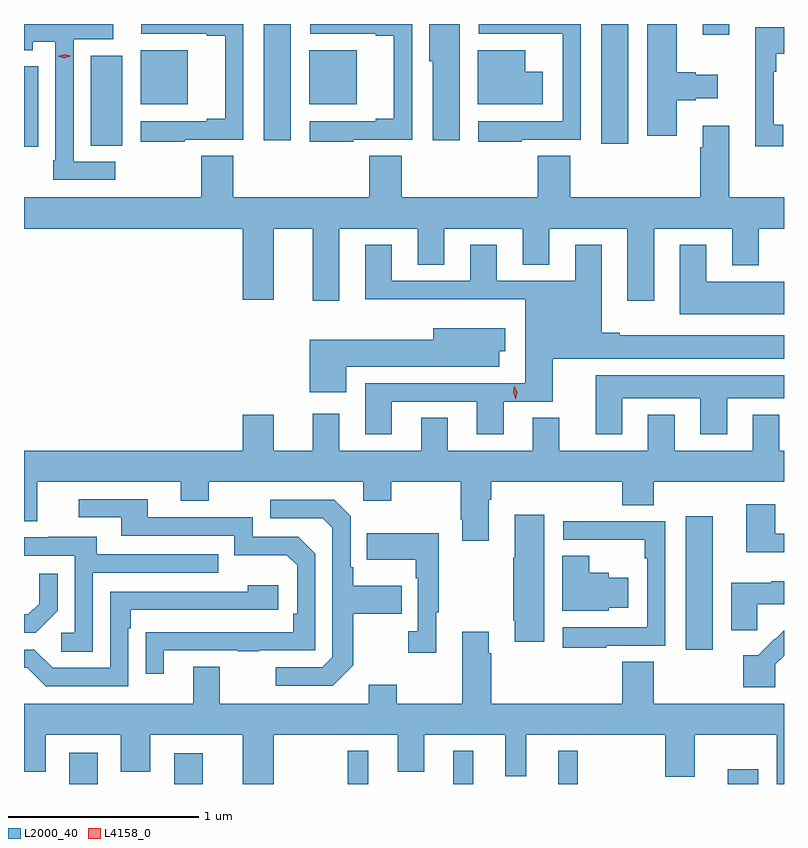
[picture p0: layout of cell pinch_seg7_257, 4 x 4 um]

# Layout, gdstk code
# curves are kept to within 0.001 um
import gdstk
lib = gdstk.Library(unit=1e-6, precision=1e-09)
def R(c, l, rs):  # rectangles x0, y0, x1, y1
    for r in rs: c.add(gdstk.rectangle(r[:2], r[2:], *l))
def P(c, l, *ps):  # polygons
    for p in ps: c.add(gdstk.Polygon(p, *l))
L2000_40 = (2000, 40)
L4158_0 = (4158, 0)

pinch_seg7_257 = lib.new_cell('pinch_seg7_257')
R(pinch_seg7_257, L2000_40, [(799.46,1009.681,799.609,1009.846), (800.012,1009.681,800.161,1009.843), (800.925,1009.681,801.034,1009.855), (801.479,1009.681,801.586,1009.855), (802.034,1009.681,802.135,1009.855), (802.925,1009.681,803.086,1009.759), (802.703,1010.387,802.846,1011.091), (799.221,1013.034,799.297,1013.459), (799.571,1013.041,799.738,1013.515), (802.259,1013.051,802.402,1013.681), (800.483,1013.07,800.626,1013.681), (799.835,1013.258,800.083,1013.542), (800.723,1013.258,800.971,1013.542), (802.793,1013.625,802.933,1013.681)])
P(pinch_seg7_257, L2000_40, [(800.954,1013.073),(801.264,1013.073),(801.264,1013.681),(800.727,1013.681),(800.727,1013.631),(801.071,1013.631),(801.071,1013.619),(801.167,1013.619),(801.167,1013.182),(801.071,1013.182),(801.071,1013.169),(800.724,1013.169),(800.724,1013.061),(800.954,1013.061)],
  [(801.842,1013.073),(802.152,1013.073),(802.152,1013.681),(801.615,1013.681),(801.615,1013.631),(802.055,1013.631),(802.055,1013.63),(802.056,1013.63),(802.056,1013.169),(801.612,1013.169),(801.612,1013.061),(801.842,1013.061)],
  [(800.066,1013.073),(800.376,1013.073),(800.376,1013.681),(799.839,1013.681),(799.839,1013.631),(800.183,1013.631),(800.183,1013.619),(800.279,1013.619),(800.279,1013.182),(800.183,1013.182),(800.183,1013.169),(799.836,1013.169),(799.836,1013.061),(800.066,1013.061)],
  [(801.514,1013.681),(801.353,1013.681),(801.353,1013.484),(801.371,1013.484),(801.371,1013.07),(801.514,1013.07)],
  [(799.702,1012.956),(799.482,1012.956),(799.482,1013.6),(799.69,1013.6),(799.69,1013.681),(799.221,1013.681),(799.221,1013.544),(799.266,1013.544),(799.266,1013.588),(799.386,1013.588),(799.386,1012.963),(799.374,1012.963),(799.374,1012.86),(799.702,1012.86)],
  [(802.657,1013.279),(802.757,1013.279),(802.757,1013.291),(802.873,1013.291),(802.873,1013.413),(802.757,1013.413),(802.757,1013.426),(802.657,1013.426),(802.657,1013.681),(802.502,1013.681),(802.502,1013.094),(802.657,1013.094)],
  [(803.218,1013.15),(803.166,1013.15),(803.166,1013.429),(803.179,1013.429),(803.179,1013.525),(803.221,1013.525),(803.221,1013.665),(803.069,1013.665),(803.069,1013.037),(803.218,1013.037)],
  [(801.952,1013.431),(801.859,1013.431),(801.859,1013.542),(801.608,1013.542),(801.608,1013.258),(801.952,1013.258)],
  [(800.881,1012.604),(801.293,1012.604),(801.293,1012.414),(801.433,1012.414),(801.433,1012.604),(801.845,1012.604),(801.845,1012.414),(801.985,1012.414),(801.985,1012.604),(802.397,1012.604),(802.397,1012.224),(802.537,1012.224),(802.537,1012.604),(802.949,1012.604),(802.949,1012.41),(803.089,1012.41),(803.089,1012.604),(803.221,1012.604),(803.221,1012.768),(802.933,1012.768),(802.933,1013.146),(802.793,1013.146),(802.793,1013.033),(802.781,1013.033),(802.781,1012.768),(802.097,1012.768),(802.097,1012.988),(801.926,1012.988),(801.926,1012.768),(801.209,1012.768),(801.209,1012.988),(801.038,1012.988),(801.038,1012.768),(800.321,1012.768),(800.321,1012.988),(800.155,1012.988),(800.155,1012.768),(799.221,1012.768),(799.221,1012.604),(800.372,1012.604),(800.372,1012.23),(800.536,1012.23),(800.536,1012.604),(800.741,1012.604),(800.741,1012.224),(800.881,1012.224)],
  [(801.157,1011.693),(801.605,1011.693),(801.605,1011.522),(801.745,1011.522),(801.745,1011.693),(802.003,1011.693),(802.003,1011.92),(803.221,1011.92),(803.221,1012.042),(802.357,1012.042),(802.357,1012.055),(802.261,1012.055),(802.261,1012.519),(802.121,1012.519),(802.121,1012.329),(801.709,1012.329),(801.709,1012.519),(801.569,1012.519),(801.569,1012.329),(801.157,1012.329),(801.157,1012.519),(801.017,1012.519),(801.017,1012.232),(801.86,1012.232),(801.86,1011.789),(801.017,1011.789),(801.017,1011.522),(801.157,1011.522)],
  [(803.221,1012.324),(802.813,1012.324),(802.813,1012.519),(802.673,1012.519),(802.673,1012.154),(803.221,1012.154)],
  [(800.917,1011.878),(801.721,1011.878),(801.721,1011.959),(801.754,1011.959),(801.754,1012.081),(801.374,1012.081),(801.374,1012.018),(800.726,1012.018),(800.726,1011.743),(800.917,1011.743)],
  [(802.369,1011.71),(802.781,1011.71),(802.781,1011.522),(802.921,1011.522),(802.921,1011.71),(803.221,1011.71),(803.221,1011.832),(802.229,1011.832),(802.229,1011.522),(802.369,1011.522)],
  [(801.667,1011.176),(801.68,1011.176),(801.68,1011.272),(802.37,1011.272),(802.37,1011.148),(802.536,1011.148),(802.536,1011.272),(803.221,1011.272),(803.221,1011.436),(803.197,1011.436),(803.197,1011.625),(803.057,1011.625),(803.057,1011.436),(802.645,1011.436),(802.645,1011.625),(802.505,1011.625),(802.505,1011.436),(802.039,1011.436),(802.039,1011.608),(801.899,1011.608),(801.899,1011.436),(801.451,1011.436),(801.451,1011.608),(801.311,1011.608),(801.311,1011.436),(800.881,1011.436),(800.881,1011.631),(800.741,1011.631),(800.741,1011.436),(800.536,1011.436),(800.536,1011.625),(800.372,1011.625),(800.372,1011.436),(799.221,1011.436),(799.221,1011.064),(799.291,1011.064),(799.291,1011.272),(800.045,1011.272),(800.045,1011.173),(800.193,1011.173),(800.193,1011.272),(801.006,1011.272),(801.006,1011.173),(801.153,1011.173),(801.153,1011.272),(801.52,1011.272),(801.52,1011.073),(801.527,1011.073),(801.527,1010.961),(801.667,1010.961)],
  [(799.957,1010.385),(800.347,1010.385),(800.347,1010.38),(800.459,1010.38),(800.459,1010.385),(800.754,1010.385),(800.754,1010.892),(800.664,1010.982),(800.424,1010.982),(800.424,1011.084),(799.873,1011.084),(799.873,1011.18),(799.509,1011.18),(799.509,1011.084),(799.733,1011.084),(799.733,1010.988),(800.328,1010.988),(800.328,1010.885),(800.605,1010.885),(800.658,1010.832),(800.658,1010.578),(800.638,1010.578),(800.638,1010.481),(799.861,1010.48),(799.861,1010.262),(799.957,1010.262)],
  [(800.953,1010.305),(800.953,1010.578),(801.209,1010.578),(801.209,1010.725),(800.953,1010.725),(800.953,1010.821),(800.94,1010.821),(800.94,1011.09),(800.853,1011.177),(800.517,1011.177),(800.517,1011.081),(800.793,1011.081),(800.844,1011.03),(800.844,1010.349),(800.79,1010.295),(800.547,1010.295),(800.547,1010.199),(800.847,1010.199)],
  [(803.221,1010.997),(803.176,1010.997),(803.176,1011.154),(803.021,1011.154),(803.021,1010.9),(803.221,1010.9)],
  [(801.958,1011.097),(801.803,1011.097),(801.803,1010.873),(801.796,1010.873),(801.796,1010.542),(801.803,1010.542),(801.803,1010.43),(801.958,1010.43)],
  [(802.286,1010.409),(802.596,1010.409),(802.596,1011.063),(802.286,1011.063),(802.286,1011.065),(802.059,1011.065),(802.059,1010.967),(802.299,1010.967),(802.299,1010.966),(802.488,1010.966),(802.488,1010.87),(802.5,1010.87),(802.5,1010.505),(802.056,1010.505),(802.056,1010.397),(802.286,1010.397)],
  [(801.391,1010.585),(801.403,1010.585),(801.403,1011.001),(801.025,1011.001),(801.025,1010.861),(801.282,1010.861),(801.282,1010.765),(801.294,1010.765),(801.294,1010.486),(801.243,1010.486),(801.243,1010.373),(801.391,1010.373)],
  [(799.584,1010.793),(800.243,1010.793),(800.243,1010.889),(799.603,1010.889),(799.603,1010.983),(799.349,1010.983),(799.349,1010.979),(799.221,1010.979),(799.221,1010.883),(799.488,1010.883),(799.488,1010.478),(799.416,1010.478),(799.416,1010.377),(799.584,1010.377)],
  [(802.299,1010.609),(802.402,1010.609),(802.402,1010.767),(802.299,1010.767),(802.299,1010.794),(802.197,1010.794),(802.197,1010.882),(802.055,1010.882),(802.055,1010.594),(802.299,1010.594)],
  [(799.398,1010.594),(799.398,1010.788),(799.301,1010.788),(799.301,1010.631),(799.244,1010.574),(799.221,1010.574),(799.221,1010.478),(799.282,1010.478)],
  [(803.079,1010.627),(803.221,1010.627),(803.221,1010.749),(803.154,1010.749),(803.154,1010.74),(802.943,1010.74),(802.943,1010.49),(803.079,1010.49)],
  [(799.77,1010.501),(799.783,1010.501),(799.783,1010.598),(800.56,1010.598),(800.56,1010.728),(800.399,1010.728),(800.399,1010.694),(799.674,1010.694),(799.674,1010.292),(799.371,1010.292),(799.275,1010.388),(799.221,1010.388),(799.221,1010.292),(799.239,1010.292),(799.335,1010.196),(799.77,1010.196)],
  [(803.175,1010.31),(803.221,1010.356),(803.221,1010.491),(803.174,1010.443),(803.172,1010.445),(803.086,1010.359),(803.007,1010.359),(803.007,1010.189),(803.175,1010.189)],
  [(802.536,1010.324),(802.37,1010.324),(802.37,1010.104),(801.68,1010.104),(801.68,1010.369),(801.667,1010.369),(801.667,1010.482),(801.527,1010.482),(801.527,1010.104),(801.183,1010.104),(801.183,1010.203),(801.035,1010.203),(801.035,1010.104),(800.251,1010.104),(800.251,1010.299),(800.111,1010.299),(800.111,1010.104),(799.221,1010.104),(799.221,1009.746),(799.336,1009.746),(799.336,1009.94),(799.73,1009.94),(799.73,1009.746),(799.885,1009.746),(799.885,1009.94),(800.372,1009.94),(800.372,1009.681),(800.536,1009.681),(800.536,1009.94),(801.188,1009.94),(801.188,1009.746),(801.328,1009.746),(801.328,1009.94),(801.755,1009.94),(801.755,1009.722),(801.865,1009.722),(801.865,1009.94),(802.597,1009.94),(802.597,1009.72),(802.75,1009.72),(802.75,1009.94),(803.183,1009.94),(803.183,1009.681),(803.221,1009.681),(803.221,1010.104),(802.536,1010.104)])
P(pinch_seg7_257, L4158_0, [(801.81,1011.707),(801.81,1011.707),(801.796,1011.74),(801.802,1011.776),(801.802,1011.776),(801.802,1011.776),(801.816,1011.743),(801.81,1011.707)],
  [(799.434,1013.502),(799.398,1013.511),(799.398,1013.511),(799.398,1013.511),(799.433,1013.522),(799.468,1013.513),(799.468,1013.513),(799.468,1013.512)])

lib.write_gds('pinch_seg7_257.gds')
